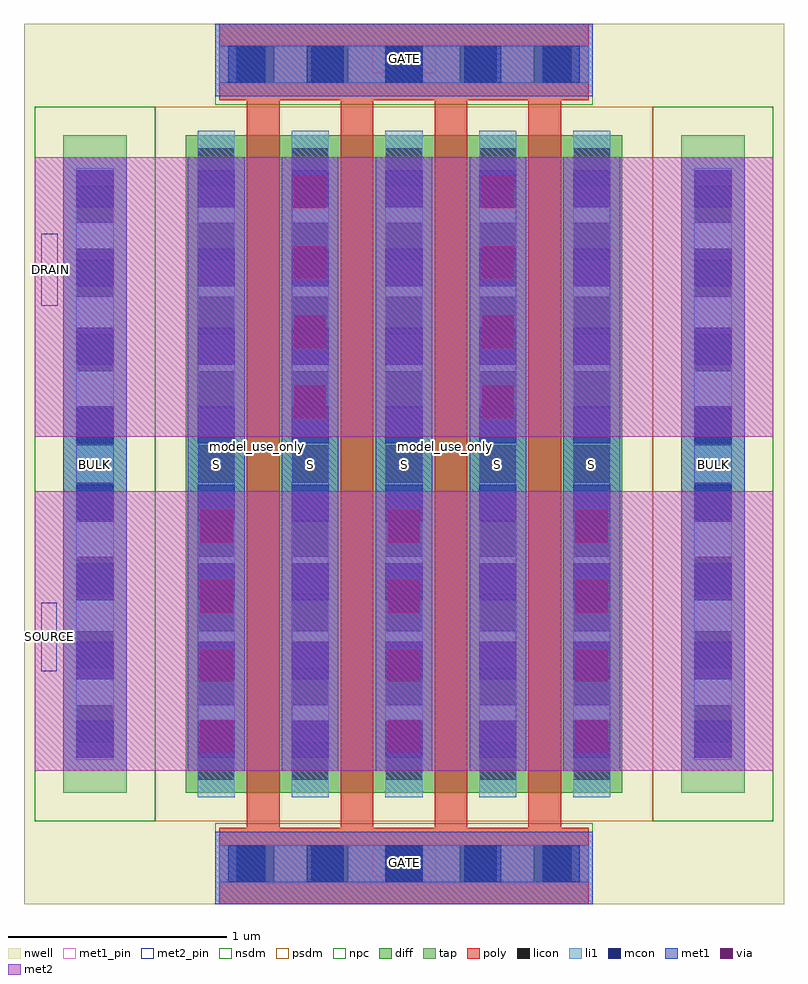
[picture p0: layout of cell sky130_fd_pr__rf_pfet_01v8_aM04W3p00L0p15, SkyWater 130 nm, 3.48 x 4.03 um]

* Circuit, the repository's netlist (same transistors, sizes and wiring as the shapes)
* Copyright 2020 The SkyWater PDK Authors
*
* Licensed under the Apache License, Version 2.0 (the "License");
* you may not use this file except in compliance with the License.
* You may obtain a copy of the License at
*
*     https://www.apache.org/licenses/LICENSE-2.0
*
* Unless required by applicable law or agreed to in writing, software
* distributed under the License is distributed on an "AS IS" BASIS,
* WITHOUT WARRANTIES OR CONDITIONS OF ANY KIND, either express or implied.
* See the License for the specific language governing permissions and
* limitations under the License.
*
* SPDX-License-Identifier: Apache-2.0


.subckt sky130_fd_pr__rf_pfet_01v8_aM04W3p00L0p15 BULK DRAIN GATE SOURCE
X0 DRAIN GATE SOURCE BULK sky130_fd_pr__pfet_01v8 w=3.01e+06u l=150000u
X1 SOURCE GATE DRAIN BULK sky130_fd_pr__pfet_01v8 w=3.01e+06u l=150000u
X2 SOURCE GATE DRAIN BULK sky130_fd_pr__pfet_01v8 w=3.01e+06u l=150000u
X3 DRAIN GATE SOURCE BULK sky130_fd_pr__pfet_01v8 w=3.01e+06u l=150000u
.ends

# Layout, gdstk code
import gdstk
lib = gdstk.Library(unit=1e-6, precision=1e-09)
def R(c, l, rs):  # rectangles x0, y0, x1, y1
    for r in rs: c.add(gdstk.rectangle(r[:2], r[2:], *l))
def A(c, l, x, y, w, h, nx, ny, dx, dy):  # array of equal rectangles
    R(c, l, [(x+i*dx, y+j*dy, x+i*dx+w, y+j*dy+h) for i in range(nx) for j in range(ny)])
nwell = (64, 20)
diff = (65, 20)
tap = (65, 44)
poly = (66, 20)
licon = (66, 44)
li1 = (67, 20)
mcon = (67, 44)
met1_pin = (68, 16)
met1 = (68, 20)
via = (68, 44)
met2_pin = (69, 16)
met2 = (69, 20)
nsdm = (93, 44)
psdm = (94, 20)
npc = (95, 20)

sky130_fd_pr__rf_pfet_01 = lib.new_cell('sky130_fd_pr__rf_pfet_01v8_aM04W3p00L0p15')
R(sky130_fd_pr__rf_pfet_01, nwell, [(0,0,3.48,4.03)])
R(sky130_fd_pr__rf_pfet_01, diff, [(0.74,0.51,2.74,3.52)])
R(sky130_fd_pr__rf_pfet_01, tap, [(0.18,0.51,0.47,3.52), (3.01,0.51,3.3,3.52)])
A(sky130_fd_pr__rf_pfet_01, poly, 1.02, 0.35, 0.15, 3.33, 4, 1, 0.43, 0)
R(sky130_fd_pr__rf_pfet_01, poly, [(0.895,0,2.585,0.35), (0.895,3.68,2.585,4.03)])
A(sky130_fd_pr__rf_pfet_01, licon, 0.975, 0.1, 0.17, 0.17, 5, 2, 0.34, 3.66)
A(sky130_fd_pr__rf_pfet_01, licon, 0.795, 0.57, 0.17, 0.17, 5, 9, 0.43, 0.34)
A(sky130_fd_pr__rf_pfet_01, licon, 0.24, 0.74, 0.17, 0.17, 1, 8, 0, 0.34)
A(sky130_fd_pr__rf_pfet_01, licon, 3.07, 0.74, 0.17, 0.17, 1, 8, 0, 0.34)
A(sky130_fd_pr__rf_pfet_01, li1, 0.795, 0.49, 0.17, 3.05, 5, 1, 0.43, 0)
A(sky130_fd_pr__rf_pfet_01, li1, 0.795, 0.67, 0.17, 2.69, 5, 1, 0.43, 0)
R(sky130_fd_pr__rf_pfet_01, li1, [(0.895,0.1,2.585,0.27), (0.935,0.1,2.545,0.27), (0.24,0.66,0.41,3.37), (3.07,0.66,3.24,3.37), (0.24,0.67,0.41,3.36), (3.07,0.67,3.24,3.36), (0.895,3.76,2.585,3.93), (0.935,3.76,2.545,3.93)])
A(sky130_fd_pr__rf_pfet_01, mcon, 0.935, 0.1, 0.17, 0.17, 5, 2, 0.36, 3.66)
A(sky130_fd_pr__rf_pfet_01, mcon, 0.24, 0.67, 0.17, 0.17, 1, 8, 0, 0.36)
A(sky130_fd_pr__rf_pfet_01, mcon, 0.795, 0.67, 0.17, 0.17, 5, 8, 0.43, 0.36)
A(sky130_fd_pr__rf_pfet_01, mcon, 3.07, 0.67, 0.17, 0.17, 1, 8, 0, 0.36)
R(sky130_fd_pr__rf_pfet_01, met1_pin, [(1.595,0.125,1.885,0.25), (0.24,1.985,0.41,2.04), (3.07,1.985,3.24,2.04), (1.595,3.805,1.885,3.93)])
A(sky130_fd_pr__rf_pfet_01, met1, 0.75, 0.61, 0.26, 2.81, 5, 1, 0.43, 0)
A(sky130_fd_pr__rf_pfet_01, met1, 0.75, 0.61, 0.26, 1.28, 3, 1, 0.86, 0)
R(sky130_fd_pr__rf_pfet_01, met1, [(0.875,0,2.605,0.33), (0.18,0.61,0.47,3.42), (3.01,0.61,3.3,3.42), (1.18,2.14,1.44,3.42), (2.04,2.14,2.3,3.42), (0.875,3.7,2.605,4.03)])
A(sky130_fd_pr__rf_pfet_01, via, 0.805, 0.695, 0.15, 0.15, 3, 4, 0.86, 0.32)
A(sky130_fd_pr__rf_pfet_01, via, 1.235, 2.225, 0.15, 0.15, 1, 4, 0, 0.32)
A(sky130_fd_pr__rf_pfet_01, via, 2.095, 2.225, 0.15, 0.15, 1, 4, 0, 0.32)
R(sky130_fd_pr__rf_pfet_01, met2_pin, [(0.08,1.065,0.15,1.38), (0.08,2.74,0.155,3.07)])
A(sky130_fd_pr__rf_pfet_01, met2, 0.75, 0.61, 0.26, 1.28, 3, 1, 0.86, 0)
R(sky130_fd_pr__rf_pfet_01, met2, [(0.05,0.61,3.43,1.89), (0.05,2.14,3.43,3.42), (1.18,2.14,1.44,3.42), (2.04,2.14,2.3,3.42)])
R(sky130_fd_pr__rf_pfet_01, nsdm, [(0.05,0.38,0.6,3.65), (2.88,0.38,3.43,3.65)])
R(sky130_fd_pr__rf_pfet_01, psdm, [(0.6,0.38,2.88,3.65)])
R(sky130_fd_pr__rf_pfet_01, npc, [(0.875,0,2.605,0.37), (0.875,3.66,2.605,4.03)])
sky130_fd_pr__rf_pfet_01.add(gdstk.Label('model_use_only', (1.07,2.095), layer=66, texttype=83))
sky130_fd_pr__rf_pfet_01.add(gdstk.Label('model_use_only', (1.5,2.095), layer=66, texttype=83))
sky130_fd_pr__rf_pfet_01.add(gdstk.Label('model_use_only', (1.93,2.095), layer=66, texttype=83))
sky130_fd_pr__rf_pfet_01.add(gdstk.Label('model_use_only', (2.36,2.095), layer=66, texttype=83))
sky130_fd_pr__rf_pfet_01.add(gdstk.Label('S', (0.88,2.015), layer=83, texttype=44))
sky130_fd_pr__rf_pfet_01.add(gdstk.Label('S', (1.31,2.015), layer=83, texttype=44))
sky130_fd_pr__rf_pfet_01.add(gdstk.Label('S', (1.74,2.015), layer=83, texttype=44))
sky130_fd_pr__rf_pfet_01.add(gdstk.Label('S', (2.17,2.015), layer=83, texttype=44))
sky130_fd_pr__rf_pfet_01.add(gdstk.Label('S', (0.88,2.015), layer=83, texttype=44))
sky130_fd_pr__rf_pfet_01.add(gdstk.Label('D', (1.31,2.015), layer=83, texttype=44))
sky130_fd_pr__rf_pfet_01.add(gdstk.Label('S', (1.74,2.015), layer=83, texttype=44))
sky130_fd_pr__rf_pfet_01.add(gdstk.Label('D', (2.17,2.015), layer=83, texttype=44))
sky130_fd_pr__rf_pfet_01.add(gdstk.Label('S', (2.6,2.015), layer=83, texttype=44))
sky130_fd_pr__rf_pfet_01.add(gdstk.Label('GATE', (1.74,3.87), layer=68, texttype=5))
sky130_fd_pr__rf_pfet_01.add(gdstk.Label('GATE', (1.74,0.19), layer=68, texttype=5))
sky130_fd_pr__rf_pfet_01.add(gdstk.Label('BULK', (3.155,2.015), layer=68, texttype=5))
sky130_fd_pr__rf_pfet_01.add(gdstk.Label('BULK', (0.325,2.015), layer=68, texttype=5))
sky130_fd_pr__rf_pfet_01.add(gdstk.Label('SOURCE', (0.115,1.225), layer=69, texttype=5))
sky130_fd_pr__rf_pfet_01.add(gdstk.Label('DRAIN', (0.12,2.905), layer=69, texttype=5))

lib.write_gds('sky130_fd_pr__rf_pfet_01v8_aM04W3p00L0p15.gds')
